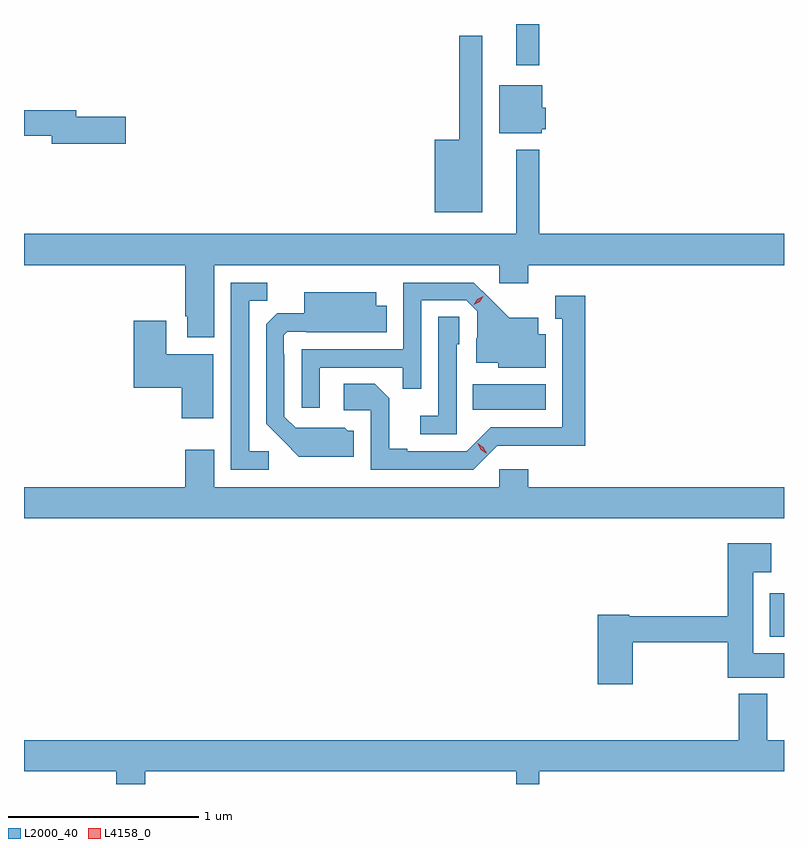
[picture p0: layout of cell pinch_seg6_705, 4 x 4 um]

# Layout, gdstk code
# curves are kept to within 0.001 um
import gdstk
lib = gdstk.Library(unit=1e-6, precision=1e-09)
def R(c, l, rs):  # rectangles x0, y0, x1, y1
    for r in rs: c.add(gdstk.rectangle(r[:2], r[2:], *l))
def P(c, l, *ps):  # polygons
    for p in ps: c.add(gdstk.Polygon(p, *l))
L2000_40 = (2000, 40)
L4158_0 = (4158, 0)

pinch_seg6_705 = lib.new_cell('pinch_seg6_705')
R(pinch_seg6_705, L2000_40, [(624.89,946.712,624.964,946.942), (623.326,947.906,623.71,948.04), (623.555,949.719,623.677,949.937)])
P(pinch_seg6_705, L2000_40, [(623.377,949.876),(623.256,949.876),(623.256,949.327),(623.126,949.327),(623.126,948.947),(623.377,948.947)],
  [(623.688,949.383),(623.71,949.383),(623.71,949.497),(623.692,949.497),(623.692,949.615),(623.465,949.615),(623.465,949.361),(623.688,949.361)],
  [(621.499,949.448),(621.238,949.448),(621.238,949.484),(620.964,949.484),(620.964,949.348),(621.11,949.348),(621.11,949.306),(621.499,949.306)],
  [(621.964,948.668),(623.466,948.668),(623.466,948.573),(623.618,948.573),(623.618,948.668),(624.964,948.668),(624.964,948.832),(623.677,948.832),(623.677,949.276),(623.555,949.276),(623.555,948.832),(620.964,948.832),(620.964,948.668),(621.812,948.668),(621.812,948.4),(621.824,948.4),(621.824,948.288),(621.964,948.288)],
  [(622.521,948.129),(622.957,948.129),(622.957,948.016),(623.055,948.016),(623.055,948.483),(623.292,948.483),(623.349,948.426),(623.349,948.284),(623.345,948.284),(623.345,948.155),(623.46,948.155),(623.46,948.128),(623.71,948.128),(623.71,948.304),(623.671,948.304),(623.671,948.391),(623.519,948.391),(623.332,948.576),(622.959,948.576),(622.959,948.225),(622.425,948.225),(622.425,947.916),(622.521,947.916)],
  [(622.252,947.688),(622.149,947.688),(622.149,948.481),(622.245,948.481),(622.245,948.576),(622.053,948.576),(622.053,947.592),(622.252,947.592)],
  [(622.699,947.796),(622.668,947.796),(622.652,947.812),(622.395,947.811),(622.335,947.871),(622.335,948.2),(622.332,948.2),(622.332,948.3),(622.35,948.318),(622.45,948.318),(622.45,948.314),(622.874,948.314),(622.874,948.454),(622.819,948.454),(622.819,948.526),(622.439,948.526),(622.439,948.415),(622.298,948.415),(622.239,948.356),(622.239,947.834),(622.411,947.66),(622.699,947.66)],
  [(623.454,947.718),(623.917,947.717),(623.917,948.508),(623.759,948.508),(623.759,948.387),(623.798,948.387),(623.798,947.814),(623.421,947.814),(623.295,947.688),(622.981,947.688),(622.981,947.701),(622.887,947.701),(622.887,947.968),(622.811,948.044),(622.647,948.044),(622.647,947.904),(622.788,947.904),(622.788,947.592),(623.328,947.592)],
  [(623.241,948.252),(623.256,948.252),(623.256,948.395),(623.145,948.395),(623.145,947.875),(623.049,947.875),(623.049,947.778),(623.241,947.778)],
  [(621.961,948.199),(621.712,948.199),(621.712,948.376),(621.542,948.376),(621.542,948.023),(621.794,948.023),(621.794,947.862),(621.961,947.862)],
  [(624.964,947.5),(623.618,947.5),(623.618,947.593),(623.466,947.593),(623.466,947.5),(621.964,947.5),(621.964,947.695),(621.812,947.695),(621.812,947.5),(620.964,947.5),(620.964,947.336),(624.964,947.336)],
  [(624.167,946.684),(624.668,946.684),(624.668,946.496),(624.964,946.496),(624.964,946.624),(624.802,946.624),(624.802,947.051),(624.898,947.051),(624.898,947.203),(624.668,947.203),(624.668,946.82),(624.15,946.82),(624.15,946.828),(623.984,946.828),(623.984,946.461),(624.167,946.461)],
  [(621.602,946.004),(623.555,946.004),(623.555,945.937),(623.677,945.937),(623.677,946.004),(624.964,946.004),(624.964,946.168),(624.877,946.168),(624.877,946.411),(624.725,946.411),(624.725,946.168),(620.964,946.168),(620.964,946.004),(621.45,946.004),(621.45,945.937),(621.602,945.937)])
P(pinch_seg6_705, L4158_0, [(623.398,947.677),(623.367,947.697),(623.351,947.73),(623.351,947.73),(623.351,947.73),(623.382,947.71),(623.399,947.678),(623.399,947.677)],
  [(623.332,948.459),(623.332,948.459),(623.35,948.489),(623.381,948.504),(623.381,948.504),(623.381,948.504),(623.363,948.474),(623.332,948.459)])

lib.write_gds('pinch_seg6_705.gds')
